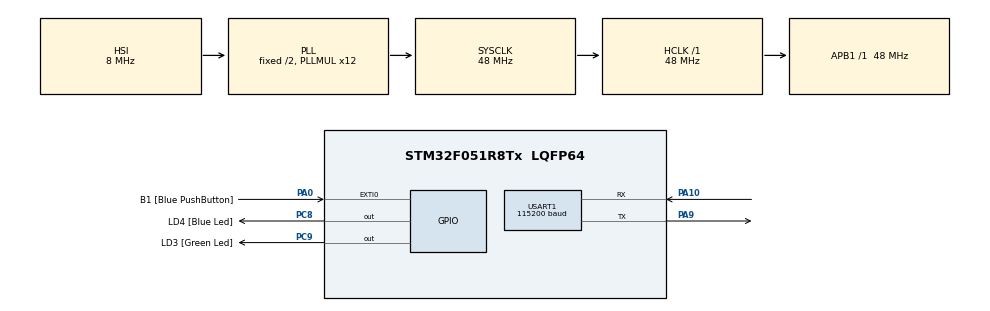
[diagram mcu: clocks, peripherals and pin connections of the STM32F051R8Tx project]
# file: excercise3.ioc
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Mcu.Family=STM32F0
Mcu.Name=STM32F051R8Tx
Mcu.Package=LQFP64
PA0.GPIO_Label=B1 [Blue PushButton]
PA0.GPIO_ModeDefaultEXTI=GPIO_MODE_EVT_RISING
PA0.Signal=GPXTI0
PA10.Mode=Asynchronous
PA10.Signal=USART1_RX
PA13.GPIO_Label=SWDIO
PA13.Mode=Serial_Wire
PA13.Signal=SYS_SWDIO
PA14.GPIO_Label=SWCLK
PA14.Mode=Serial_Wire
PA14.Signal=SYS_SWCLK
PA9.Mode=Asynchronous
PA9.Signal=USART1_TX
PC8.GPIO_Label=LD4 [Blue Led]
PC8.Signal=GPIO_Output
PC9.GPIO_Label=LD3 [Green Led]
PC9.Signal=GPIO_Output
ProjectManager.HeapSize=0x200
ProjectManager.StackSize=0x400
ProjectManager.TargetToolchain=STM32CubeIDE
RCC.AHBFreq_Value=48000000
RCC.APB1Freq_Value=48000000
RCC.APB1TimFreq_Value=48000000
RCC.HCLKFreq_Value=48000000
RCC.PLLMUL=RCC_PLL_MUL12
RCC.SYSCLKFreq_VALUE=48000000
RCC.SYSCLKSource=RCC_SYSCLKSOURCE_PLLCLK
RTC.Date=23
RTC.Hours=1
RTC.Minutes=26
RTC.Month=RTC_MONTH_MAY
RTC.WeekDay=RTC_WEEKDAY_THURSDAY
RTC.Year=24
USART1.BaudRate=115200
USART1.VirtualMode-Asynchronous=VM_ASYNC
VP_RTC_VS_RTC_Activate.Mode=RTC_Enabled
VP_RTC_VS_RTC_Calendar.Mode=RTC_Calendar
board=STM32F0DISCOVERY

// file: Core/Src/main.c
/* USER CODE BEGIN Header */
/**
  ******************************************************************************
  * @file           : main.c
  * @brief          : Main program body
  ******************************************************************************
  * @attention
  *
  * Copyright (c) 2024 STMicroelectronics.
  * All rights reserved.
  *
  * This software is licensed under terms that can be found in the LICENSE file
  * in the root directory of this software component.
  * If no LICENSE file comes with this software, it is provided AS-IS.
  *
  ******************************************************************************
  */
/* USER CODE END Header */
#include "main.h"

/* USER CODE BEGIN Includes */
#include "stdio.h"
#include "string.h"
#include "stdint.h"
/* USER CODE END Includes */

RTC_HandleTypeDef hrtc;

UART_HandleTypeDef huart1;

void SystemClock_Config(void);
static void MX_GPIO_Init(void);
static void MX_RTC_Init(void);
static void MX_USART1_UART_Init(void);

int main(void)
{

  /* MCU Configuration--------------------------------------------------------*/

  /* Reset of all peripherals, Initializes the Flash interface and the Systick. */
  HAL_Init();

  /* Configure the system clock */
  SystemClock_Config();

  /* Initialize all configured peripherals */
  MX_GPIO_Init();
  MX_RTC_Init();
  MX_USART1_UART_Init();
  /* USER CODE BEGIN 2 */

  /* variable that specifies the Format of the RTC */
  uint8_t format = RTC_FORMAT_BIN;

  /* structure to store Date clock data */
  RTC_DateTypeDef sDate = {0};

  /* Structure to store Time clock data*/
  RTC_TimeTypeDef sTime = {0};

  /* viariable to store the uart string to be transmitted */
  char uart_buf[100];

  /* the actual length of the buffer used to hold the string.*/
  int uart_buf_len;

  /* USER CODE END 2 */

  /* Infinite loop */
  while (1)
  {

    /* USER CODE BEGIN 3 */

	  /*
	  Get the time from the RTC and store it in the sTime variable

	  Get the date from the RTC and store it in the sDate variable
	  */
	  HAL_RTC_GetTime(&hrtc, &sTime, format);
	  HAL_RTC_GetDate(&hrtc, &sDate, format);

	  /*
	  Format the string to the one specified in the documentation.

	  store the length to be used in transmission.
	  */
	  uart_buf_len = sprintf(uart_buf, "20%u-%u-%u %u:%u:%u\r\n",
			  sDate.Year, sDate.Month, // Year and Month
			  sDate.Date, sTime.Hours, // Day and hours
			  sTime.Minutes, sTime.Seconds); // Minutes and Seconds

	/*
	Transmit the data stored in the uart buffer which can be looked at on COM3 in putty

	Recur the loop every half a second to observe time change and reduce the rate of the uart output.
	*/
	HAL_UART_Transmit(&huart1, (uint8_t*)uart_buf, uart_buf_len, 1000);
	HAL_Delay(500);
  }
  /* USER CODE END 3 */
}

void SystemClock_Config(void)
{
  RCC_OscInitTypeDef RCC_OscInitStruct = {0};
  RCC_ClkInitTypeDef RCC_ClkInitStruct = {0};
  RCC_PeriphCLKInitTypeDef PeriphClkInit = {0};

  /** Initializes the RCC Oscillators according to the specified parameters
  * in the RCC_OscInitTypeDef structure.
  */
  RCC_OscInitStruct.OscillatorType = RCC_OSCILLATORTYPE_HSI|RCC_OSCILLATORTYPE_LSI;
  RCC_OscInitStruct.HSIState = RCC_HSI_ON;
  RCC_OscInitStruct.HSICalibrationValue = RCC_HSICALIBRATION_DEFAULT;
  RCC_OscInitStruct.LSIState = RCC_LSI_ON;
  RCC_OscInitStruct.PLL.PLLState = RCC_PLL_ON;
  RCC_OscInitStruct.PLL.PLLSource = RCC_PLLSOURCE_HSI;
  RCC_OscInitStruct.PLL.PLLMUL = RCC_PLL_MUL12;
  RCC_OscInitStruct.PLL.PREDIV = RCC_PREDIV_DIV1;
  if (HAL_RCC_OscConfig(&RCC_OscInitStruct) != HAL_OK)
  {
    Error_Handler();
  }

  /** Initializes the CPU, AHB and APB buses clocks
  */
  RCC_ClkInitStruct.ClockType = RCC_CLOCKTYPE_HCLK|RCC_CLOCKTYPE_SYSCLK
                              |RCC_CLOCKTYPE_PCLK1;
  RCC_ClkInitStruct.SYSCLKSource = RCC_SYSCLKSOURCE_PLLCLK;
  RCC_ClkInitStruct.AHBCLKDivider = RCC_SYSCLK_DIV1;
  RCC_ClkInitStruct.APB1CLKDivider = RCC_HCLK_DIV1;

  if (HAL_RCC_ClockConfig(&RCC_ClkInitStruct, FLASH_LATENCY_1) != HAL_OK)
  {
    Error_Handler();
  }
  PeriphClkInit.PeriphClockSelection = RCC_PERIPHCLK_USART1|RCC_PERIPHCLK_RTC;
  PeriphClkInit.Usart1ClockSelection = RCC_USART1CLKSOURCE_PCLK1;
  PeriphClkInit.RTCClockSelection = RCC_RTCCLKSOURCE_LSI;
  if (HAL_RCCEx_PeriphCLKConfig(&PeriphClkInit) != HAL_OK)
  {
    Error_Handler();
  }
}

static void MX_RTC_Init(void)
{

  RTC_TimeTypeDef sTime = {0};
  RTC_DateTypeDef sDate = {0};

  /** Initialize RTC Only
  */
  hrtc.Instance = RTC;
  hrtc.Init.HourFormat = RTC_HOURFORMAT_24;
  hrtc.Init.AsynchPrediv = 127;
  hrtc.Init.SynchPrediv = 255;
  hrtc.Init.OutPut = RTC_OUTPUT_DISABLE;
  hrtc.Init.OutPutPolarity = RTC_OUTPUT_POLARITY_HIGH;
  hrtc.Init.OutPutType = RTC_OUTPUT_TYPE_OPENDRAIN;
  if (HAL_RTC_Init(&hrtc) != HAL_OK)
  {
    Error_Handler();
  }

  /** Initialize RTC and set the Time and Date
  */
  sTime.Hours = 0x1;
  sTime.Minutes = 0x26;
  sTime.Seconds = 0x0;
  sTime.DayLightSaving = RTC_DAYLIGHTSAVING_NONE;
  sTime.StoreOperation = RTC_STOREOPERATION_RESET;
  if (HAL_RTC_SetTime(&hrtc, &sTime, RTC_FORMAT_BCD) != HAL_OK)
  {
    Error_Handler();
  }
  sDate.WeekDay = RTC_WEEKDAY_THURSDAY;
  sDate.Month = RTC_MONTH_MAY;
  sDate.Date = 0x23;
  sDate.Year = 0x24;

  if (HAL_RTC_SetDate(&hrtc, &sDate, RTC_FORMAT_BCD) != HAL_OK)
  {
    Error_Handler();
  }

}

static void MX_USART1_UART_Init(void)
{

  huart1.Instance = USART1;
  huart1.Init.BaudRate = 115200;
  huart1.Init.WordLength = UART_WORDLENGTH_8B;
  huart1.Init.StopBits = UART_STOPBITS_1;
  huart1.Init.Parity = UART_PARITY_NONE;
  huart1.Init.Mode = UART_MODE_TX_RX;
  huart1.Init.HwFlowCtl = UART_HWCONTROL_NONE;
  huart1.Init.OverSampling = UART_OVERSAMPLING_16;
  huart1.Init.OneBitSampling = UART_ONE_BIT_SAMPLE_DISABLE;
  huart1.AdvancedInit.AdvFeatureInit = UART_ADVFEATURE_NO_INIT;
  if (HAL_UART_Init(&huart1) != HAL_OK)
  {
    Error_Handler();
  }

}

static void MX_GPIO_Init(void)
{
  GPIO_InitTypeDef GPIO_InitStruct = {0};

  /* GPIO Ports Clock Enable */
  __HAL_RCC_GPIOA_CLK_ENABLE();
  __HAL_RCC_GPIOC_CLK_ENABLE();

  /*Configure GPIO pin Output Level */
  HAL_GPIO_WritePin(GPIOC, LD4_Pin|LD3_Pin, GPIO_PIN_RESET);

  /*Configure GPIO pin : B1_Pin */
  GPIO_InitStruct.Pin = B1_Pin;
  GPIO_InitStruct.Mode = GPIO_MODE_EVT_RISING;
  GPIO_InitStruct.Pull = GPIO_NOPULL;
  HAL_GPIO_Init(B1_GPIO_Port, &GPIO_InitStruct);

  /*Configure GPIO pins : LD4_Pin LD3_Pin */
  GPIO_InitStruct.Pin = LD4_Pin|LD3_Pin;
  GPIO_InitStruct.Mode = GPIO_MODE_OUTPUT_PP;
  GPIO_InitStruct.Pull = GPIO_NOPULL;
  GPIO_InitStruct.Speed = GPIO_SPEED_FREQ_LOW;
  HAL_GPIO_Init(GPIOC, &GPIO_InitStruct);

}

void Error_Handler(void)
{
  __disable_irq();
  while (1)
  {
  }
}
